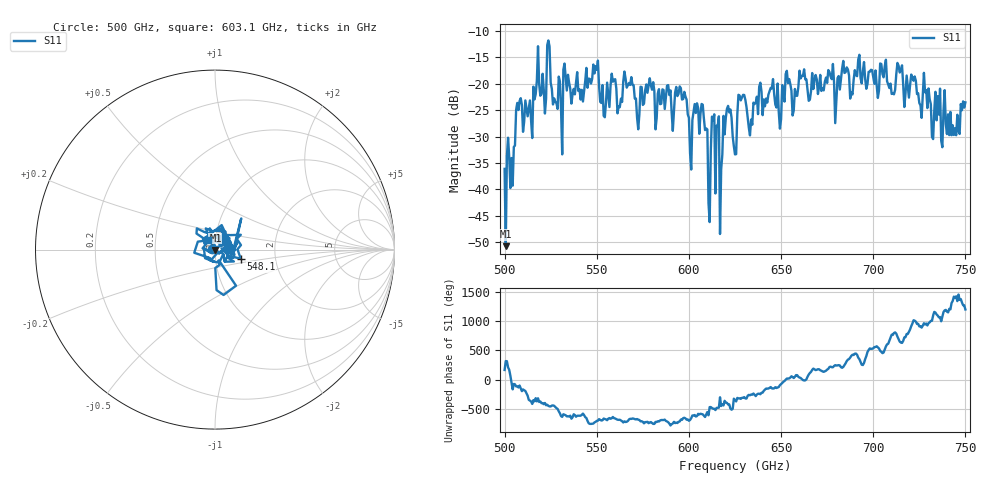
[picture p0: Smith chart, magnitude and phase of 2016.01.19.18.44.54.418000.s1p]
!Created with skrf (http://scikit-rf.org).
# GHz S RI R 50.0
!freq ReS11 ImS11
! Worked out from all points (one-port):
!   401 points, 500 GHz to 750 GHz, reference 50 ohm
!   lowest |S11| = -50.8 dB at 500.6 GHz (marker M1), VSWR 1.01, Z = 50.2 - j0.184 ohm
!   |S11| at or under -10 dB: start of sweep to end of sweep
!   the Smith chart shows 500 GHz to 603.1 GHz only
!   S11 on the Smith chart (normalised r, x): 500 GHz: 0.97, +0.01; 548.1 GHz: 1.33, -0.14; 603.1 GHz: 0.92, +0.10
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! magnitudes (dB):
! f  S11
! 500 GHz  -36.1
! 500.6 GHz  -50.8
! 504.4 GHz  -39.3
! 507.5 GHz  -25.0
! 513.8 GHz  -23.2
! 524.4 GHz  -12.9
! 527.5 GHz  -23.4
! 531.2 GHz  -33.4
! 548.1 GHz  -16.4
! 562.5 GHz  -24.4
! 565.6 GHz  -19.0
! 593.8 GHz  -22.3
! 600.6 GHz  -33.2
! 603.1 GHz  -23.8
! 608.1 GHz  -26.6
! 610.6 GHz  -42.6
! 613.8 GHz  -25.8
! 618.1 GHz  -33.4
! 621.2 GHz  -24.2
! 625 GHz  -33.4
! 628.1 GHz  -23.2
! 633.1 GHz  -29.8
! 638.1 GHz  -20.6
! 656.2 GHz  -26.0
! 687.5 GHz  -22.8
! 718.8 GHz  -20.5
! 743.8 GHz  -29.7
! 750 GHz  -23.5
